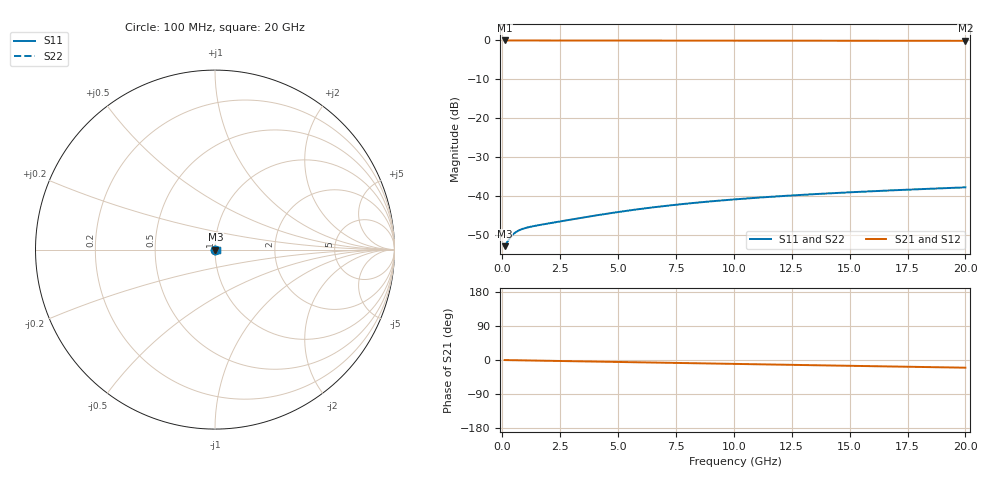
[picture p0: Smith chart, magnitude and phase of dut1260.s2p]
! Touchstone file exported from HFSS 2026.1.0
!  File:  C:/ffzhzh/LocalFiles/Ansys_Project_Files/temp_train_TMRDL_1260_1783163983_55132.aedt
!  Generated:  07:20:49 PM Jul  4, 2026
!  Design:  TMRDL
!  Project:  temp_train_TMRDL_1260_1783163983_55132
! Variables:
!  h_bsmrdl = 2um
!  h_ox = 20um
!  h_rdl = 5um
!  h_sub = 80um
!  h_tmrdl = 3.32um
!  h_tsv = 80um
!  h_via = 3um
!  l_bsmrdl = 300um
!  l_sub = 758.5um
!  l_tmrdl = 358.5um
!  m_sub = 200um
!  pitch = 22.59um
!  r_tsv = 6um
!  s_tmrdl = 10um
!  w_bsmrdl = 18um
!  w_sub = 500um
!  w_tmrdl = 19.11um
!  x_tsv_center1 = 368.055um
!  x_tsv_center2 = 686.055um
!  x_tsv_center3 = 1063.665um
!  x_tsv_center4 = 1381.665um
!  x_tsv_center5 = 1759.275um
!  x_tsv_center6 = 2077.275um
# GHz S MA R 50.000000
! Terminal data exported
! Port[1] = TM_RDL1_1_T1
! Port[2] = TM_RDL1_1_T2
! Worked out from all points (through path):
!   200 points, 100 MHz to 20 GHz, reference 50 ohm
!   highest |S21| = -0.02 dB at 100 MHz (marker M1); lowest = -0.1 dB at 20 GHz (marker M2)
!   group delay of S21, straight-line fit = 2.81 ps
!   lowest |S11| = -52.8 dB at 100 MHz (marker M3), VSWR 1.00, Z = 50.2 + j0.0403 ohm
!   |S11| at or under -10 dB: start of sweep to end of sweep
!   |S22| runs from -52.8 to -37.8 dB; largest |S21 - S12| = 4.6e-15
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0.1  0.002283 10.1  0.9978 -0.1  0.9978 -0.1  0.002283 10.1
! Gamma 0 0 0 0
! Port Impedance 50 0 50 0
0.3  0.002826 19.9  0.9973 -0.4  0.9973 -0.4  0.002826 19.9
0.4  0.003089 20.9  0.9971 -0.5  0.9971 -0.5  0.003089 20.9
0.5  0.003307 21.0  0.9969 -0.6  0.9969 -0.6  0.003307 21.0
0.6  0.00348 20.7  0.9968 -0.7  0.9968 -0.7  0.00348 20.7
0.7  0.003619 20.3  0.9966 -0.8  0.9966 -0.8  0.003619 20.3
0.8  0.003732 19.9  0.9965 -0.9  0.9965 -0.9  0.003731 19.9
1  0.003906 19.5  0.9963 -1.1  0.9963 -1.1  0.003905 19.5
1.4  0.004157 19.4  0.9961 -1.5  0.9961 -1.5  0.004156 19.4
3.5  0.005328 22.5  0.9952 -3.7  0.9952 -3.7  0.005324 22.5
4.4  0.005886 22.5  0.9948 -4.6  0.9948 -4.6  0.00588 22.5
5.2  0.006387 21.6  0.9943 -5.4  0.9943 -5.4  0.00638 21.7
6  0.006882 20.3  0.9938 -6.3  0.9938 -6.3  0.006872 20.4
6.8  0.007362 18.6  0.9933 -7.1  0.9933 -7.1  0.007349 18.7
7.6  0.007824 16.6  0.9929 -7.9  0.9929 -7.9  0.007808 16.7
8.4  0.008265 14.5  0.9924 -8.7  0.9924 -8.7  0.008245 14.6
10.1  0.009134 9.5  0.9914 -10.4  0.9914 -10.4  0.009105 9.6
11.7  0.009874 4.7  0.9905 -12.0  0.9905 -12.0  0.009835 4.8
13.4  0.01059 -0.4  0.9896 -13.7  0.9896 -13.7  0.01054 -0.3
15  0.01122 -5.1  0.9889 -15.3  0.9889 -15.3  0.01115 -5.0
16.7  0.01184 -9.9  0.9881 -17.0  0.9881 -17.0  0.01176 -9.8
20  0.01298 -18.9  0.9868 -20.3  0.9868 -20.3  0.01286 -18.8
